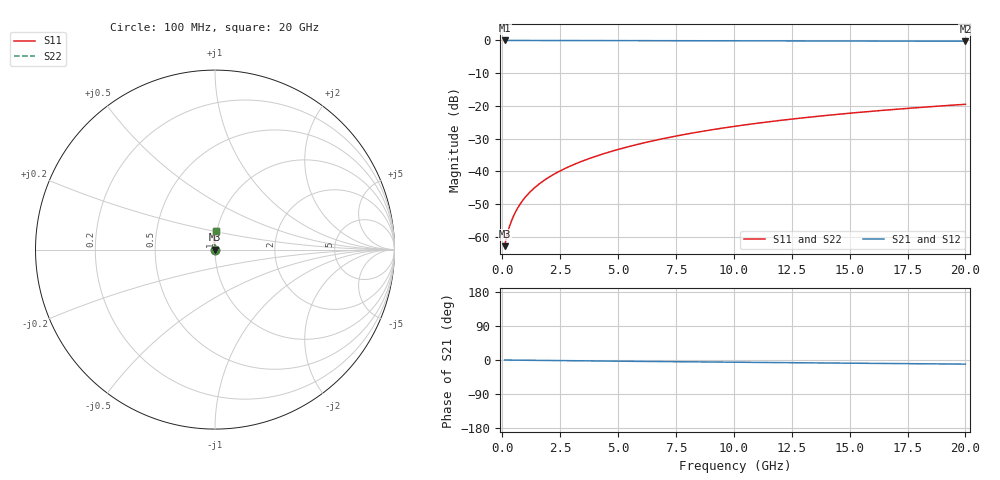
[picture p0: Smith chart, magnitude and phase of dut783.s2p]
! Touchstone file exported from HFSS 2024.1.0
!  File:  C:/UserFiles/LocalFiles/RDL_TSV_Batchsim/temp_RDL_top_783_1779853093.aedt
!  Generated:  11:40:23 AM May 27, 2026
!  Design:  RDL_top
!  Project:  temp_RDL_top_783_1779853093
!  Setup:  Setup1
!  Solution:  Sweep
! Variables:
!  dtsv = 10.80580581um
!  hbump = 3um
!  htsv = 63.7um
!  ldown = 100um
!  lrdl = 143.45um
!  p = 40
!  p1 = 49.52um
!  rhole = 1um
!  t = 450um
!  tdown = 3.915915916um
!  trdl = 4.86um
!  wdown = 15.38538539um
!  wrdl = 28.15um
# GHz S MA R 50.000000
! Terminal data exported
! Port[1] = Box2_T1
! Port[2] = Box2_T2
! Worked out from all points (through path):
!   200 points, 100 MHz to 20 GHz, reference 50 ohm
!   highest |S21| = 0.00 dB at 100 MHz (marker M1); lowest = -0.2 dB at 20 GHz (marker M2)
!   group delay of S21, straight-line fit = 1.48 ps
!   lowest |S11| = -62.9 dB at 100 MHz (marker M3), VSWR 1.00, Z = 50.1 + j0.0457 ohm
!   |S11| at or under -10 dB: start of sweep to end of sweep
!   |S22| runs from -62.9 to -19.5 dB; largest |S21 - S12| = 1.2e-14
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0.1  0.0007176 39.5  0.9994 -0.1  0.9994 -0.1  0.0007176 39.5
! Gamma 0 0 0 0
! Port Impedance 50 0 50 0
0.2  0.001051 55.5  0.9994 -0.1  0.9994 -0.1  0.001051 55.5
0.3  0.0014 63.9  0.9993 -0.2  0.9993 -0.2  0.0014 63.9
0.4  0.001759 69.3  0.9993 -0.3  0.9993 -0.3  0.001759 69.3
0.5  0.002128 73.1  0.9992 -0.3  0.9992 -0.3  0.002128 73.1
0.6  0.002503 75.9  0.9992 -0.4  0.9992 -0.4  0.002503 75.9
0.8  0.003269 79.7  0.9991 -0.5  0.9991 -0.5  0.003269 79.7
1.1  0.004442 83.3  0.9989 -0.7  0.9989 -0.7  0.004442 83.3
1.5  0.006034 86.2  0.9987 -1.0  0.9987 -1.0  0.006034 86.2
1.8  0.007249 87.7  0.9984 -1.2  0.9984 -1.2  0.007249 87.7
2.1  0.008481 89.0  0.9981 -1.4  0.9981 -1.4  0.008481 89.0
2.7  0.01101 90.9  0.9974 -1.7  0.9974 -1.7  0.01101 90.9
3.5  0.01451 92.6  0.9963 -2.2  0.9963 -2.2  0.01451 92.6
4.2  0.01773 93.7  0.9952 -2.7  0.9952 -2.7  0.01773 93.7
5  0.02157 94.6  0.9939 -3.1  0.9939 -3.1  0.02157 94.6
6.8  0.0308 95.2  0.9909 -4.1  0.9909 -4.1  0.0308 95.2
8.4  0.03951 94.9  0.9883 -5.0  0.9883 -5.0  0.03951 94.9
10.1  0.04907 94.0  0.9858 -5.9  0.9858 -5.9  0.04907 94.0
11.7  0.05823 92.9  0.9837 -6.7  0.9837 -6.7  0.05823 92.9
13.4  0.06801 91.7  0.9815 -7.6  0.9815 -7.6  0.06801 91.7
16.7  0.08697 89.1  0.9777 -9.2  0.9777 -9.2  0.08697 89.1
20  0.1057 86.6  0.9742 -10.9  0.9742 -10.9  0.1057 86.6
